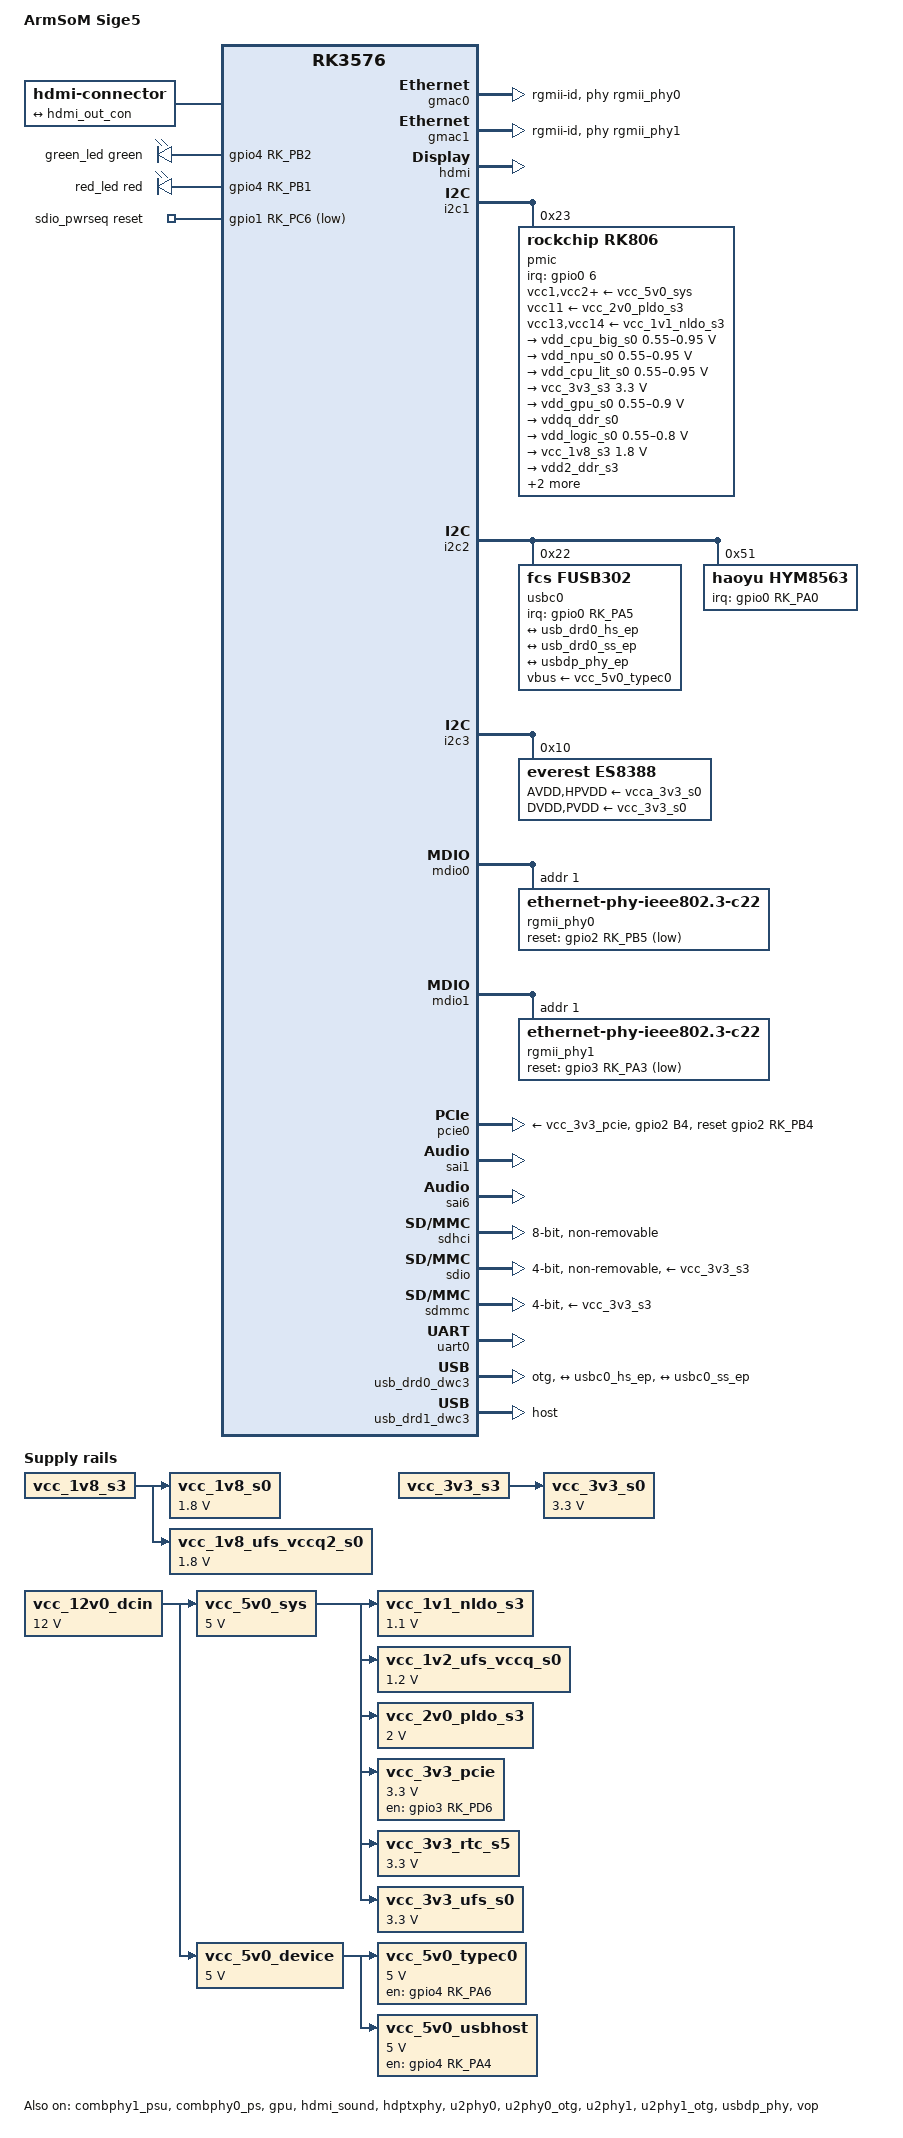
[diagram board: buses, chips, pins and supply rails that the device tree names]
// SPDX-License-Identifier: (GPL-2.0+ OR MIT)
/*
 * Copyright (c) 2024 Rockchip Electronics Co., Ltd.
 *
 */

/dts-v1/;

#include <dt-bindings/gpio/gpio.h>
#include <dt-bindings/leds/common.h>
#include <dt-bindings/pinctrl/rockchip.h>
#include <dt-bindings/pwm/pwm.h>
#include <dt-bindings/soc/rockchip,vop2.h>
#include <dt-bindings/usb/pd.h>
#include "rk3576.dtsi"

/ {
	model = "ArmSoM Sige5";
	compatible = "armsom,sige5", "rockchip,rk3576";

	aliases {
		ethernet0 = &gmac0;
		ethernet1 = &gmac1;
	};

	chosen {
		stdout-path = "serial0:1500000n8";
	};

	hdmi-con {
		compatible = "hdmi-connector";
		type = "a";

		port {
			hdmi_con_in: endpoint {
				remote-endpoint = <&hdmi_out_con>;
			};
		};
	};

	leds: leds {
		compatible = "gpio-leds";

		green_led: green-led {
			color = <LED_COLOR_ID_GREEN>;
			function = LED_FUNCTION_HEARTBEAT;
			gpios = <&gpio4 RK_PB2 GPIO_ACTIVE_HIGH>;
			linux,default-trigger = "heartbeat";
		};

		red_led: red-led {
			color = <LED_COLOR_ID_RED>;
			function = LED_FUNCTION_STATUS;
			gpios = <&gpio4 RK_PB1 GPIO_ACTIVE_HIGH>;
			linux,default-trigger = "default-on";
		};
	};

	es8388_sound: es8388-sound {
		compatible = "simple-audio-card";
		simple-audio-card,format = "i2s";
		simple-audio-card,mclk-fs = <256>;
		simple-audio-card,name = "On-board Analog ES8388";
		simple-audio-card,widgets = "Microphone", "Headphone Mic",
					    "Microphone", "Mic Pads",
					    "Headphone", "Headphone",
					    "Line Out", "Line Out";
		simple-audio-card,routing = "Headphone", "LOUT1",
					    "Headphone", "ROUT1",
					    "Line Out", "LOUT2",
					    "Line Out", "ROUT2",
					    "RINPUT1", "Headphone Mic",
					    "LINPUT2", "Mic Pads",
					    "RINPUT2", "Mic Pads";
		simple-audio-card,pin-switches = "Headphone", "Line Out";

		simple-audio-card,cpu {
			sound-dai = <&sai1>;
		};

		simple-audio-card,codec {
			sound-dai = <&es8388>;
			system-clock-frequency = <12288000>;
		};
	};

	vcc_12v0_dcin: regulator-vcc-12v0-dcin {
		compatible = "regulator-fixed";
		regulator-name = "vcc_12v0_dcin";
		regulator-always-on;
		regulator-boot-on;
		regulator-min-microvolt = <12000000>;
		regulator-max-microvolt = <12000000>;
	};

	vcc_1v1_nldo_s3: regulator-vcc-1v1-nldo-s3 {
		compatible = "regulator-fixed";
		regulator-name = "vcc_1v1_nldo_s3";
		regulator-boot-on;
		regulator-always-on;
		regulator-min-microvolt = <1100000>;
		regulator-max-microvolt = <1100000>;
		vin-supply = <&vcc_5v0_sys>;
	};

	vcc_1v2_ufs_vccq_s0: regulator-vcc-1v2-ufs-vccq-s0 {
		compatible = "regulator-fixed";
		regulator-name = "vcc_1v2_ufs_vccq_s0";
		regulator-boot-on;
		regulator-always-on;
		regulator-min-microvolt = <1200000>;
		regulator-max-microvolt = <1200000>;
		vin-supply = <&vcc_5v0_sys>;
	};

	vcc_1v8_s0: regulator-vcc-1v8-s0 {
		compatible = "regulator-fixed";
		regulator-name = "vcc_1v8_s0";
		regulator-boot-on;
		regulator-always-on;
		regulator-min-microvolt = <1800000>;
		regulator-max-microvolt = <1800000>;
		vin-supply = <&vcc_1v8_s3>;
	};

	vcc_1v8_ufs_vccq2_s0: regulator-vcc-1v8-ufs-vccq2-s0 {
		compatible = "regulator-fixed";
		regulator-name = "vcc_1v8_ufs_vccq2_s0";
		regulator-boot-on;
		regulator-always-on;
		regulator-min-microvolt = <1800000>;
		regulator-max-microvolt = <1800000>;
		vin-supply = <&vcc_1v8_s3>;
	};

	vcc_2v0_pldo_s3: regulator-vcc-2v0-pldo-s3 {
		compatible = "regulator-fixed";
		regulator-name = "vcc_2v0_pldo_s3";
		regulator-boot-on;
		regulator-always-on;
		regulator-min-microvolt = <2000000>;
		regulator-max-microvolt = <2000000>;
		vin-supply = <&vcc_5v0_sys>;
	};

	vcc_3v3_pcie: regulator-vcc-3v3-pcie {
		compatible = "regulator-fixed";
		pinctrl-names = "default";
		pinctrl-0 = <&pcie_pwr_en>;
		regulator-name = "vcc_3v3_pcie";
		regulator-min-microvolt = <3300000>;
		regulator-max-microvolt = <3300000>;
		enable-active-high;
		gpio = <&gpio3 RK_PD6 GPIO_ACTIVE_HIGH>;
		startup-delay-us = <5000>;
		vin-supply = <&vcc_5v0_sys>;
	};

	vcc_3v3_rtc_s5: regulator-vcc-3v3-rtc-s5 {
		compatible = "regulator-fixed";
		regulator-name = "vcc_3v3_rtc_s5";
		regulator-boot-on;
		regulator-always-on;
		regulator-min-microvolt = <3300000>;
		regulator-max-microvolt = <3300000>;
		vin-supply = <&vcc_5v0_sys>;
	};

	vcc_3v3_s0: regulator-vcc-3v3-s0 {
		compatible = "regulator-fixed";
		regulator-name = "vcc_3v3_s0";
		regulator-boot-on;
		regulator-always-on;
		regulator-min-microvolt = <3300000>;
		regulator-max-microvolt = <3300000>;
		vin-supply = <&vcc_3v3_s3>;
	};

	vcc_5v0_sys: regulator-vcc-5v0-sys {
		compatible = "regulator-fixed";
		regulator-name = "vcc_5v0_sys";
		regulator-always-on;
		regulator-boot-on;
		regulator-min-microvolt = <5000000>;
		regulator-max-microvolt = <5000000>;
		vin-supply = <&vcc_12v0_dcin>;
	};

	vcc_5v0_device: regulator-vcc-5v0-device {
		compatible = "regulator-fixed";
		regulator-name = "vcc_5v0_device";
		regulator-always-on;
		regulator-boot-on;
		regulator-min-microvolt = <5000000>;
		regulator-max-microvolt = <5000000>;
		vin-supply = <&vcc_12v0_dcin>;
	};

	vcc_5v0_typec0: regulator-vcc-5v0-typec0 {
		compatible = "regulator-fixed";
		enable-active-high;
		gpios = <&gpio4 RK_PA6 GPIO_ACTIVE_HIGH>;
		pinctrl-names = "default";
		pinctrl-0 = <&usb_otg0_pwren>;
		regulator-name = "vcc_5v0_typec0";
		regulator-min-microvolt = <5000000>;
		regulator-max-microvolt = <5000000>;
		vin-supply = <&vcc_5v0_device>;
	};

	vcc_5v0_usbhost: regulator-vcc-5v0-usbhost {
		compatible = "regulator-fixed";
		enable-active-high;
		gpios = <&gpio4 RK_PA4 GPIO_ACTIVE_HIGH>;
		pinctrl-names = "default";
		pinctrl-0 = <&usb_host_pwren>;
		regulator-name = "vcc_5v0_usbhost";
		regulator-min-microvolt = <5000000>;
		regulator-max-microvolt = <5000000>;
		vin-supply = <&vcc_5v0_device>;
	};

	vcc_3v3_ufs_s0: regulator-vcc-ufs-s0 {
		compatible = "regulator-fixed";
		regulator-name = "vcc_3v3_ufs_s0";
		regulator-boot-on;
		regulator-always-on;
		regulator-min-microvolt = <3300000>;
		regulator-max-microvolt = <3300000>;
		vin-supply = <&vcc_5v0_sys>;
	};

	sdio_pwrseq: sdio-pwrseq {
		compatible = "mmc-pwrseq-simple";
		clocks = <&hym8563>;
		clock-names = "ext_clock";
		pinctrl-names = "default";
		pinctrl-0 = <&wifi_reg_on>;
		reset-gpios = <&gpio1 RK_PC6 GPIO_ACTIVE_LOW>;
	};
};

&combphy1_psu {
	status = "okay";
};

&combphy0_ps {
	status = "okay";
};

&cpu_b0 {
	cpu-supply = <&vdd_cpu_big_s0>;
};

&cpu_b1 {
	cpu-supply = <&vdd_cpu_big_s0>;
};

&cpu_b2 {
	cpu-supply = <&vdd_cpu_big_s0>;
};

&cpu_b3 {
	cpu-supply = <&vdd_cpu_big_s0>;
};

&cpu_l0 {
	cpu-supply = <&vdd_cpu_lit_s0>;
};

&cpu_l1 {
	cpu-supply = <&vdd_cpu_lit_s0>;
};

&cpu_l2 {
	cpu-supply = <&vdd_cpu_lit_s0>;
};

&cpu_l3 {
	cpu-supply = <&vdd_cpu_lit_s0>;
};

&gmac0 {
	phy-mode = "rgmii-id";
	clock_in_out = "output";
	phy-handle = <&rgmii_phy0>;
	pinctrl-names = "default";
	pinctrl-0 = <&eth0m0_miim
		     &eth0m0_tx_bus2
		     &eth0m0_rx_bus2
		     &eth0m0_rgmii_clk
		     &eth0m0_rgmii_bus>;
	status = "okay";
};

&gmac1 {
	phy-mode = "rgmii-id";
	clock_in_out = "output";
	phy-handle = <&rgmii_phy1>;
	pinctrl-names = "default";
	pinctrl-0 = <&eth1m0_miim
		     &eth1m0_tx_bus2
		     &eth1m0_rx_bus2
		     &eth1m0_rgmii_clk
		     &eth1m0_rgmii_bus>;
	status = "okay";
};

&gpu {
	mali-supply = <&vdd_gpu_s0>;
	status = "okay";
};

&hdmi {
	status = "okay";
};

&hdmi_in {
	hdmi_in_vp0: endpoint {
		remote-endpoint = <&vp0_out_hdmi>;
	};
};

&hdmi_out {
	hdmi_out_con: endpoint {
		remote-endpoint = <&hdmi_con_in>;
	};
};

&hdmi_sound {
	status = "okay";
};

&hdptxphy {
	status = "okay";
};

&i2c1 {
	status = "okay";

	pmic@23 {
		compatible = "rockchip,rk806";
		reg = <0x23>;

		interrupt-parent = <&gpio0>;
		interrupts = <6 IRQ_TYPE_LEVEL_LOW>;

		pinctrl-names = "default";
		pinctrl-0 = <&pmic_pins>, <&rk806_dvs1_null>,
			    <&rk806_dvs2_null>, <&rk806_dvs3_null>;

		system-power-controller;

		vcc1-supply = <&vcc_5v0_sys>;
		vcc2-supply = <&vcc_5v0_sys>;
		vcc3-supply = <&vcc_5v0_sys>;
		vcc4-supply = <&vcc_5v0_sys>;
		vcc5-supply = <&vcc_5v0_sys>;
		vcc6-supply = <&vcc_5v0_sys>;
		vcc7-supply = <&vcc_5v0_sys>;
		vcc8-supply = <&vcc_5v0_sys>;
		vcc9-supply = <&vcc_5v0_sys>;
		vcc10-supply = <&vcc_5v0_sys>;
		vcc11-supply = <&vcc_2v0_pldo_s3>;
		vcc12-supply = <&vcc_5v0_sys>;
		vcc13-supply = <&vcc_1v1_nldo_s3>;
		vcc14-supply = <&vcc_1v1_nldo_s3>;
		vcca-supply = <&vcc_5v0_sys>;

		gpio-controller;
		#gpio-cells = <2>;

		rk806_dvs1_null: dvs1-null-pins {
			pins = "gpio_pwrctrl1";
			function = "pin_fun0";
		};

		rk806_dvs2_null: dvs2-null-pins {
			pins = "gpio_pwrctrl2";
			function = "pin_fun0";
		};

		rk806_dvs3_null: dvs3-null-pins {
			pins = "gpio_pwrctrl3";
			function = "pin_fun0";
		};

		rk806_dvs1_slp: dvs1-slp-pins {
			pins = "gpio_pwrctrl1";
			function = "pin_fun1";
		};

		rk806_dvs1_pwrdn: dvs1-pwrdn-pins {
			pins = "gpio_pwrctrl1";
			function = "pin_fun2";
		};

		rk806_dvs1_rst: dvs1-rst-pins {
			pins = "gpio_pwrctrl1";
			function = "pin_fun3";
		};

		rk806_dvs2_slp: dvs2-slp-pins {
			pins = "gpio_pwrctrl2";
			function = "pin_fun1";
		};

		rk806_dvs2_pwrdn: dvs2-pwrdn-pins {
			pins = "gpio_pwrctrl2";
			function = "pin_fun2";
		};

		rk806_dvs2_rst: dvs2-rst-pins {
			pins = "gpio_pwrctrl2";
			function = "pin_fun3";
		};

		rk806_dvs2_dvs: dvs2-dvs-pins {
			pins = "gpio_pwrctrl2";
			function = "pin_fun4";
		};

		rk806_dvs2_gpio: dvs2-gpio-pins {
			pins = "gpio_pwrctrl2";
			function = "pin_fun5";
		};

		rk806_dvs3_slp: dvs3-slp-pins {
			pins = "gpio_pwrctrl3";
			function = "pin_fun1";
		};

		rk806_dvs3_pwrdn: dvs3-pwrdn-pins {
			pins = "gpio_pwrctrl3";
			function = "pin_fun2";
		};

		rk806_dvs3_rst: dvs3-rst-pins {
			pins = "gpio_pwrctrl3";
			function = "pin_fun3";
		};

		rk806_dvs3_dvs: dvs3-dvs-pins {
			pins = "gpio_pwrctrl3";
			function = "pin_fun4";
		};

		rk806_dvs3_gpio: dvs3-gpio-pins {
			pins = "gpio_pwrctrl3";
			function = "pin_fun5";
		};

		regulators {
			vdd_cpu_big_s0: dcdc-reg1 {
				regulator-always-on;
				regulator-boot-on;
				regulator-min-microvolt = <550000>;
				regulator-max-microvolt = <950000>;
				regulator-ramp-delay = <12500>;
				regulator-name = "vdd_cpu_big_s0";
				regulator-enable-ramp-delay = <400>;
				regulator-state-mem {
					regulator-off-in-suspend;
				};
			};

			vdd_npu_s0: dcdc-reg2 {
				regulator-boot-on;
				regulator-min-microvolt = <550000>;
				regulator-max-microvolt = <950000>;
				regulator-ramp-delay = <12500>;
				regulator-name = "vdd_npu_s0";
				regulator-enable-ramp-delay = <400>;
				regulator-state-mem {
					regulator-off-in-suspend;
				};
			};

			vdd_cpu_lit_s0: dcdc-reg3 {
				regulator-always-on;
				regulator-boot-on;
				regulator-min-microvolt = <550000>;
				regulator-max-microvolt = <950000>;
				regulator-ramp-delay = <12500>;
				regulator-name = "vdd_cpu_lit_s0";
				regulator-state-mem {
					regulator-off-in-suspend;
					regulator-suspend-microvolt = <750000>;
				};
			};

			vcc_3v3_s3: dcdc-reg4 {
				regulator-always-on;
				regulator-boot-on;
				regulator-min-microvolt = <3300000>;
				regulator-max-microvolt = <3300000>;
				regulator-name = "vcc_3v3_s3";
				regulator-state-mem {
					regulator-on-in-suspend;
					regulator-suspend-microvolt = <3300000>;
				};
			};

			vdd_gpu_s0: dcdc-reg5 {
				regulator-boot-on;
				regulator-min-microvolt = <550000>;
				regulator-max-microvolt = <900000>;
				regulator-ramp-delay = <12500>;
				regulator-name = "vdd_gpu_s0";
				regulator-enable-ramp-delay = <400>;
				regulator-state-mem {
					regulator-off-in-suspend;
					regulator-suspend-microvolt = <850000>;
				};
			};

			vddq_ddr_s0: dcdc-reg6 {
				regulator-always-on;
				regulator-boot-on;
				regulator-name = "vddq_ddr_s0";
				regulator-state-mem {
					regulator-off-in-suspend;
				};
			};

			vdd_logic_s0: dcdc-reg7 {
				regulator-always-on;
				regulator-boot-on;
				regulator-min-microvolt = <550000>;
				regulator-max-microvolt = <800000>;
				regulator-name = "vdd_logic_s0";
				regulator-state-mem {
					regulator-off-in-suspend;
				};
			};

			vcc_1v8_s3: dcdc-reg8 {
				regulator-always-on;
				regulator-boot-on;
				regulator-min-microvolt = <1800000>;
				regulator-max-microvolt = <1800000>;
				regulator-name = "vcc_1v8_s3";
				regulator-state-mem {
					regulator-on-in-suspend;
					regulator-suspend-microvolt = <1800000>;
				};
			};

			vdd2_ddr_s3: dcdc-reg9 {
				regulator-always-on;
				regulator-boot-on;
				regulator-name = "vdd2_ddr_s3";
				regulator-state-mem {
					regulator-on-in-suspend;
				};
			};

			vdd_ddr_s0: dcdc-reg10 {
				regulator-always-on;
				regulator-boot-on;
				regulator-min-microvolt = <550000>;
				regulator-max-microvolt = <1200000>;
				regulator-name = "vdd_ddr_s0";
				regulator-state-mem {
					regulator-off-in-suspend;
				};
			};

			vcca_1v8_s0: pldo-reg1 {
				regulator-always-on;
				regulator-boot-on;
				regulator-min-microvolt = <1800000>;
				regulator-max-microvolt = <1800000>;
				regulator-name = "vcca_1v8_s0";
				regulator-state-mem {
					regulator-off-in-suspend;
				};
			};

			vcca1v8_pldo2_s0: pldo-reg2 {
				regulator-always-on;
				regulator-boot-on;
				regulator-min-microvolt = <1800000>;
				regulator-max-microvolt = <1800000>;
				regulator-name = "vcca1v8_pldo2_s0";
				regulator-state-mem {
					regulator-off-in-suspend;
				};
			};

			vdda_1v2_s0: pldo-reg3 {
				regulator-always-on;
				regulator-boot-on;
				regulator-min-microvolt = <1200000>;
				regulator-max-microvolt = <1200000>;
				regulator-name = "vdda_1v2_s0";
				regulator-state-mem {
					regulator-off-in-suspend;
				};
			};

			vcca_3v3_s0: pldo-reg4 {
				regulator-always-on;
				regulator-boot-on;
				regulator-min-microvolt = <3300000>;
				regulator-max-microvolt = <3300000>;
				regulator-name = "vcca_3v3_s0";
				regulator-state-mem {
					regulator-off-in-suspend;
				};
			};

			vccio_sd_s0: pldo-reg5 {
				regulator-always-on;
				regulator-boot-on;
				regulator-min-microvolt = <1800000>;
				regulator-max-microvolt = <3300000>;
				regulator-name = "vccio_sd_s0";
				regulator-state-mem {
					regulator-off-in-suspend;
				};
			};

			vcca1v8_pldo6_s3: pldo-reg6 {
				regulator-always-on;
				regulator-boot-on;
				regulator-min-microvolt = <1800000>;
				regulator-max-microvolt = <1800000>;
				regulator-name = "vcca1v8_pldo6_s3";
				regulator-state-mem {
					regulator-on-in-suspend;
					regulator-suspend-microvolt = <1800000>;
				};
			};

			vdd_0v75_s3: nldo-reg1 {
				regulator-always-on;
				regulator-boot-on;
				regulator-min-microvolt = <750000>;
				regulator-max-microvolt = <750000>;
				regulator-name = "vdd_0v75_s3";
				regulator-state-mem {
					regulator-on-in-suspend;
					regulator-suspend-microvolt = <750000>;
				};
			};

			vdda_ddr_pll_s0: nldo-reg2 {
				regulator-always-on;
				regulator-boot-on;
				regulator-min-microvolt = <850000>;
				regulator-max-microvolt = <850000>;
				regulator-name = "vdda_ddr_pll_s0";
				regulator-state-mem {
					regulator-off-in-suspend;
				};
			};

			vdda0v75_hdmi_s0: nldo-reg3 {
				regulator-always-on;
				regulator-boot-on;
				regulator-min-microvolt = <837500>;
				regulator-max-microvolt = <837500>;
				regulator-name = "vdda0v75_hdmi_s0";
				regulator-state-mem {
					regulator-off-in-suspend;
				};
			};

			vdda_0v85_s0: nldo-reg4 {
				regulator-always-on;
				regulator-boot-on;
				regulator-min-microvolt = <850000>;
				regulator-max-microvolt = <850000>;
				regulator-name = "vdda_0v85_s0";
				regulator-state-mem {
					regulator-off-in-suspend;
				};
			};

			vdda_0v75_s0: nldo-reg5 {
				regulator-always-on;
				regulator-boot-on;
				regulator-min-microvolt = <750000>;
				regulator-max-microvolt = <750000>;
				regulator-name = "vdda_0v75_s0";
				regulator-state-mem {
					regulator-off-in-suspend;
				};
			};
		};
	};
};

&i2c2 {
	status = "okay";

	usbc0: typec-portc@22 {
		compatible = "fcs,fusb302";
		reg = <0x22>;
		interrupt-parent = <&gpio0>;
		interrupts = <RK_PA5 IRQ_TYPE_LEVEL_LOW>;
		pinctrl-names = "default";
		pinctrl-0 = <&usbc0_interrupt>;
		vbus-supply = <&vcc_5v0_typec0>;

		connector {
			compatible = "usb-c-connector";
			label = "USB-C";
			data-role = "dual";
			/* fusb302 supports PD Rev 2.0 Ver 1.2 */
			pd-revision = /bits/ 8 <0x2 0x0 0x1 0x2>;
			power-role = "source";
			source-pdos = <PDO_FIXED(5000, 2000,
						 PDO_FIXED_USB_COMM | PDO_FIXED_DATA_SWAP)>;

			altmodes {
				displayport {
					svid = /bits/ 16 <0xff01>;
					vdo = <0xffffffff>;
				};
			};

			ports {
				#address-cells = <1>;
				#size-cells = <0>;

				port@0 {
					reg = <0>;
					usbc0_hs_ep: endpoint {
						remote-endpoint = <&usb_drd0_hs_ep>;
					};
				};
				port@1 {
					reg = <1>;
					usbc0_ss_ep: endpoint {
						remote-endpoint = <&usb_drd0_ss_ep>;
					};
				};
				port@2 {
					reg = <2>;
					usbc0_dp_ep: endpoint {
						remote-endpoint = <&usbdp_phy_ep>;
					};
				};
			};
		};
	};

	hym8563: rtc@51 {
		compatible = "haoyu,hym8563";
		reg = <0x51>;
		clock-output-names = "hym8563";
		interrupt-parent = <&gpio0>;
		interrupts = <RK_PA0 IRQ_TYPE_LEVEL_LOW>;
		pinctrl-names = "default";
		pinctrl-0 = <&hym8563_int>;
		wakeup-source;
		#clock-cells = <0>;
	};
};

&i2c3 {
	status = "okay";

	es8388: audio-codec@10 {
		compatible = "everest,es8388", "everest,es8328";
		reg = <0x10>;
		clocks = <&cru CLK_SAI1_MCLKOUT_TO_IO>;
		AVDD-supply = <&vcca_3v3_s0>;
		DVDD-supply = <&vcc_3v3_s0>;
		HPVDD-supply = <&vcca_3v3_s0>;
		PVDD-supply = <&vcc_3v3_s0>;
		assigned-clocks = <&cru CLK_SAI1_MCLKOUT_TO_IO>;
		assigned-clock-rates = <12288000>;
		#sound-dai-cells = <0>;
		pinctrl-names = "default";
		pinctrl-0 = <&sai1m0_mclk>;
	};
};

&mdio0 {
	rgmii_phy0: phy@1 {
		compatible = "ethernet-phy-ieee802.3-c22";
		reg = <0x1>;
		pinctrl-names = "default";
		pinctrl-0 = <&gmac0_rst>;
		reset-assert-us = <20000>;
		reset-deassert-us = <100000>;
		reset-gpios = <&gpio2 RK_PB5 GPIO_ACTIVE_LOW>;
	};
};

&mdio1 {
	rgmii_phy1: phy@1 {
		compatible = "ethernet-phy-ieee802.3-c22";
		reg = <0x1>;
		pinctrl-names = "default";
		pinctrl-0 = <&gmac1_rst>;
		reset-assert-us = <20000>;
		reset-deassert-us = <100000>;
		reset-gpios = <&gpio3 RK_PA3 GPIO_ACTIVE_LOW>;
	};
};

&pcie0 {
	pinctrl-names = "default";
	pinctrl-0 = <&pcie_reset>;
	reset-gpios = <&gpio2 RK_PB4 GPIO_ACTIVE_HIGH>;
	vpcie3v3-supply = <&vcc_3v3_pcie>;
	status = "okay";
};

&pinctrl {
	gmac {
		gmac0_rst: gmac0-rst {
			rockchip,pins = <2 RK_PB5 RK_FUNC_GPIO &pcfg_pull_none>;
		};
		gmac1_rst: gmac1-rst {
			rockchip,pins = <3 RK_PA3 RK_FUNC_GPIO &pcfg_pull_none>;
		};
	};

	headphone {
		hp_det: hp-det {
			rockchip,pins = <0 RK_PD3 RK_FUNC_GPIO &pcfg_pull_up>;
		};
	};

	hym8563 {
		hym8563_int: hym8563-int {
			rockchip,pins = <0 RK_PA0 RK_FUNC_GPIO &pcfg_pull_up>;
		};
	};

	leds {
		led_rgb_r: led-red-en {
			rockchip,pins = <4 RK_PB1 RK_FUNC_GPIO &pcfg_pull_none>;
		};
		led_rgb_g: led-green-en {
			rockchip,pins = <4 RK_PB2 RK_FUNC_GPIO &pcfg_pull_none>;
		};
	};

	pcie {
		pcie_pwr_en: pcie-pwr-en {
			rockchip,pins = <3 RK_PD6 RK_FUNC_GPIO &pcfg_pull_down>;
		};
		pcie_reset: pcie-reset {
			rockchip,pins = <2 RK_PB4 RK_FUNC_GPIO &pcfg_pull_up>;
		};
	};

	usb {
		usb_host_pwren: usb-host-pwren {
			rockchip,pins = <4 RK_PA4 RK_FUNC_GPIO &pcfg_pull_none>;
		};
		usb_otg0_pwren: usb-otg0-pwren {
			rockchip,pins = <4 RK_PA6 RK_FUNC_GPIO &pcfg_pull_none>;
		};
		usbc0_interrupt: usbc0-interrupt {
			rockchip,pins = <0 RK_PA5 RK_FUNC_GPIO &pcfg_pull_up>;
		};
		usbc0_sbu1: usbc0-sbu1 {
			rockchip,pins = <2 RK_PA6 RK_FUNC_GPIO &pcfg_pull_down>;
		};
		usbc0_sbu2: usbc0-sbu2 {
			rockchip,pins = <2 RK_PA7 RK_FUNC_GPIO &pcfg_pull_down>;
		};
	};

	wireless-bluetooth {
		bt_reg_on: bt-reg-on {
			rockchip,pins = <1 RK_PC7 RK_FUNC_GPIO &pcfg_pull_up>;
		};

		host_wake_bt: host-wake-bt {
			rockchip,pins = <1 RK_PD4 RK_FUNC_GPIO &pcfg_pull_up>;
		};

		bt_wake_host: bt-wake-host {
			rockchip,pins = <0 RK_PB1 RK_FUNC_GPIO &pcfg_pull_down>;
		};
	};

	wireless-wlan {
		wifi_wake_host: wifi-wake-host {
			rockchip,pins = <0 RK_PB0 RK_FUNC_GPIO &pcfg_pull_down>;
		};

		wifi_reg_on: wifi-reg-on {
			rockchip,pins = <1 RK_PC6 RK_FUNC_GPIO &pcfg_pull_none>;
		};
	};
};

&sai1 {
	pinctrl-names = "default";
	pinctrl-0 = <&sai1m0_lrck
		     &sai1m0_sclk
		     &sai1m0_sdi0
		     &sai1m0_sdo0>;
	status = "okay";
};

&sai6 {
	status = "okay";
};

&sdhci {
	bus-width = <8>;
	full-pwr-cycle-in-suspend;
	max-frequency = <200000000>;
	mmc-hs400-1_8v;
	mmc-hs400-enhanced-strobe;
	no-sdio;
	no-sd;
	non-removable;
	status = "okay";
};

&sdio {
	bus-width = <4>;
	cap-sdio-irq;
	disable-wp;
	keep-power-in-suspend;
	mmc-pwrseq = <&sdio_pwrseq>;
	no-sd;
	no-mmc;
	non-removable;
	sd-uhs-sdr50;
	sd-uhs-sdr104;
	vmmc-supply = <&vcc_3v3_s3>;
	vqmmc-supply = <&vcc_1v8_s3>;
	wakeup-source;
	status = "okay";
};

&sdmmc {
	bus-width = <4>;
	cap-mmc-highspeed;
	cap-sd-highspeed;
	disable-wp;
	max-frequency = <200000000>;
	no-sdio;
	no-mmc;
	sd-uhs-sdr104;
	vmmc-supply = <&vcc_3v3_s3>;
	vqmmc-supply = <&vccio_sd_s0>;
	status = "okay";
};

&u2phy0 {
	status = "okay";
};

&u2phy0_otg {
	status = "okay";
};

&u2phy1 {
	status = "okay";
};

&u2phy1_otg {
	phy-supply = <&vcc_5v0_usbhost>;
	status = "okay";
};

&uart0 {
	pinctrl-0 = <&uart0m0_xfer>;
	status = "okay";
};

/* Used by Bluetooth modules, enabled in a version specific overlay */
&uart4 {
	pinctrl-0 = <&uart4m1_xfer &uart4m1_ctsn &uart4m1_rtsn>;
	pinctrl-names = "default";
	uart-has-rtscts;
};

&usb_drd0_dwc3 {
	usb-role-switch;
	dr_mode = "otg";
	status = "okay";

	ports {
		#address-cells = <1>;
		#size-cells = <0>;

		port@0 {
			reg = <0>;
			usb_drd0_hs_ep: endpoint {
				remote-endpoint = <&usbc0_hs_ep>;
			};
		};

		port@1 {
			reg = <1>;
			usb_drd0_ss_ep: endpoint {
				remote-endpoint = <&usbc0_ss_ep>;
			};
		};
	};
};

&usb_drd1_dwc3 {
	dr_mode = "host";
	status = "okay";
};

&usbdp_phy {
	mode-switch;
	orientation-switch;
	pinctrl-names = "default";
	pinctrl-0 = <&usbc0_sbu1 &usbc0_sbu2>;
	sbu1-dc-gpios = <&gpio2 RK_PA6 GPIO_ACTIVE_HIGH>;
	sbu2-dc-gpios = <&gpio2 RK_PA7 GPIO_ACTIVE_HIGH>;
	status = "okay";

	port {
		usbdp_phy_ep: endpoint {
			remote-endpoint = <&usbc0_dp_ep>;
		};
	};
};

&vop {
	status = "okay";
};

&vop_mmu {
	status = "okay";
};

&vp0 {
	vp0_out_hdmi: endpoint@ROCKCHIP_VOP2_EP_HDMI0 {
		reg = <ROCKCHIP_VOP2_EP_HDMI0>;
		remote-endpoint = <&hdmi_in_vp0>;
	};
};
